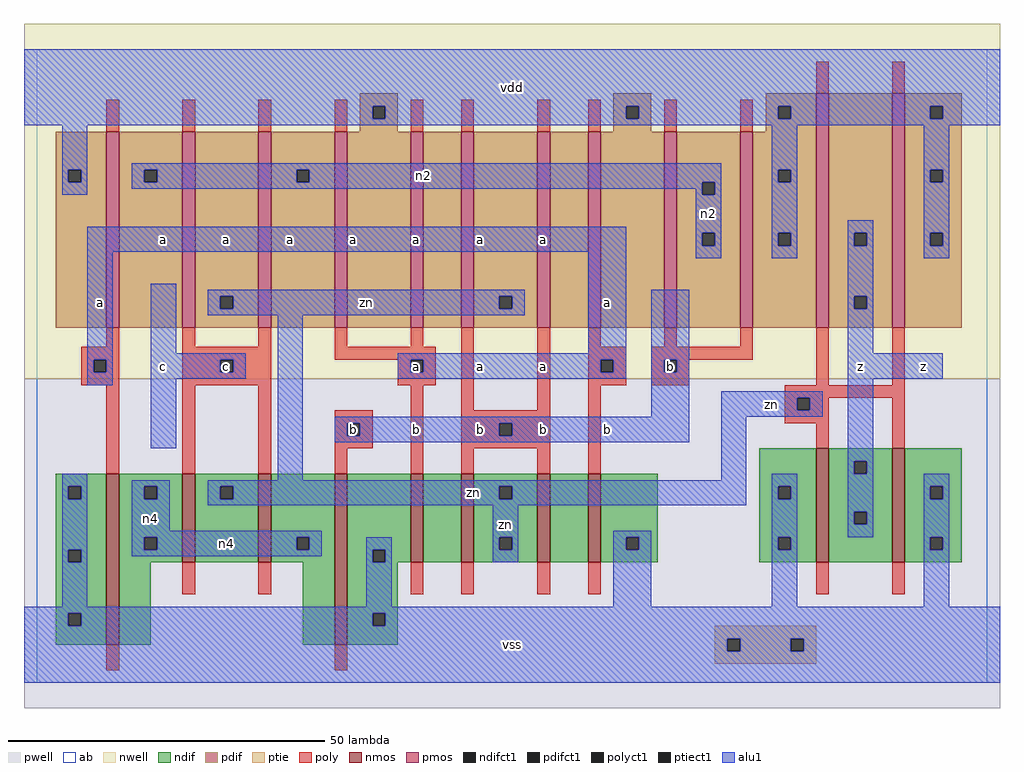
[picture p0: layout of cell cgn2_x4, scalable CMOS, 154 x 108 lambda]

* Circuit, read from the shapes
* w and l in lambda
.subckt cgn2_x4 a b c n2 n4 vdd vss z zn
M1 n4 a vss vss nfet w=27 l=2
M2 zn c n4 vss nfet w=14 l=2 m=2
M3 vss b n4 vss nfet w=27 l=2
M4 n1 a vss vss nfet w=14 l=2
M5 zn b n1 vss nfet w=14 l=2
M6 n3 b zn vss nfet w=14 l=2
M7 vss a n3 vss nfet w=14 l=2
M8 z zn vss vss nfet w=18 l=2 m=2
M9 n2 a vdd n5 pfet w=31 l=2 m=2
M10 zn c n2 n5 pfet w=31 l=2 m=2
M11 n6 a vdd n5 pfet w=31 l=2
M12 zn b n6 n5 pfet w=31 l=2
M13 n7 b zn n5 pfet w=31 l=2
M14 vdd a n7 n5 pfet w=31 l=2
M15 n2 b vdd n5 pfet w=31 l=2 m=2
M16 z zn vdd n5 pfet w=37 l=2 m=2
.ends

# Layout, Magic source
magic
tech scmos
<< ab >>
rect 0 0 150 100
<< nwell >>
rect -2 48 152 104
<< pwell >>
rect -2 -4 152 48
<< poly >>
rect 123 93 125 98
rect 135 93 137 98
rect 11 87 13 92
rect 23 87 25 92
rect 35 87 37 92
rect 47 87 49 92
rect 59 87 61 92
rect 67 87 69 92
rect 79 87 81 92
rect 87 87 89 92
rect 99 87 101 92
rect 111 87 113 92
rect 11 53 13 56
rect 7 51 13 53
rect 7 49 9 51
rect 11 49 13 51
rect 7 47 13 49
rect 11 33 13 47
rect 23 53 25 56
rect 35 53 37 56
rect 23 51 37 53
rect 47 53 49 56
rect 59 53 61 56
rect 47 51 63 53
rect 23 49 29 51
rect 31 49 37 51
rect 23 47 37 49
rect 57 49 59 51
rect 61 49 63 51
rect 57 47 63 49
rect 23 33 25 47
rect 35 33 37 47
rect 47 41 53 43
rect 47 39 49 41
rect 51 39 53 41
rect 47 37 53 39
rect 47 33 49 37
rect 59 33 61 47
rect 67 43 69 56
rect 79 43 81 56
rect 67 41 81 43
rect 67 39 73 41
rect 75 39 81 41
rect 67 37 81 39
rect 67 33 69 37
rect 79 33 81 37
rect 87 53 89 56
rect 99 53 101 56
rect 111 53 113 56
rect 87 51 93 53
rect 87 49 89 51
rect 91 49 93 51
rect 87 47 93 49
rect 97 51 113 53
rect 97 49 99 51
rect 101 49 103 51
rect 97 47 103 49
rect 123 47 125 56
rect 135 47 137 56
rect 87 33 89 47
rect 118 45 137 47
rect 118 43 120 45
rect 122 43 125 45
rect 118 41 125 43
rect 123 37 125 41
rect 135 37 137 45
rect 23 14 25 19
rect 35 14 37 19
rect 59 14 61 19
rect 67 14 69 19
rect 79 14 81 19
rect 87 14 89 19
rect 123 14 125 19
rect 135 14 137 19
rect 11 2 13 6
rect 47 2 49 6
<< ndif >>
rect 3 31 11 33
rect 3 29 5 31
rect 7 29 11 31
rect 3 21 11 29
rect 3 19 5 21
rect 7 19 11 21
rect 3 11 11 19
rect 3 9 5 11
rect 7 9 11 11
rect 3 6 11 9
rect 13 31 23 33
rect 13 29 17 31
rect 19 29 23 31
rect 13 23 23 29
rect 13 21 17 23
rect 19 21 23 23
rect 13 19 23 21
rect 25 31 35 33
rect 25 29 29 31
rect 31 29 35 31
rect 25 19 35 29
rect 37 23 47 33
rect 37 21 41 23
rect 43 21 47 23
rect 37 19 47 21
rect 13 6 18 19
rect 42 6 47 19
rect 49 21 59 33
rect 49 19 53 21
rect 55 19 59 21
rect 61 19 67 33
rect 69 31 79 33
rect 69 29 73 31
rect 75 29 79 31
rect 69 23 79 29
rect 69 21 73 23
rect 75 21 79 23
rect 69 19 79 21
rect 81 19 87 33
rect 89 23 98 33
rect 89 21 93 23
rect 95 21 98 23
rect 89 19 98 21
rect 114 31 123 37
rect 114 29 117 31
rect 119 29 123 31
rect 114 23 123 29
rect 114 21 117 23
rect 119 21 123 23
rect 114 19 123 21
rect 125 35 135 37
rect 125 33 129 35
rect 131 33 135 35
rect 125 27 135 33
rect 125 25 129 27
rect 131 25 135 27
rect 125 19 135 25
rect 137 31 146 37
rect 137 29 141 31
rect 143 29 146 31
rect 137 23 146 29
rect 137 21 141 23
rect 143 21 146 23
rect 137 19 146 21
rect 49 11 57 19
rect 49 9 53 11
rect 55 9 57 11
rect 49 6 57 9
<< pdif >>
rect 51 91 57 93
rect 51 89 53 91
rect 55 89 57 91
rect 51 87 57 89
rect 91 91 97 93
rect 91 89 93 91
rect 95 89 97 91
rect 91 87 97 89
rect 115 91 123 93
rect 115 89 117 91
rect 119 89 123 91
rect 115 87 123 89
rect 3 81 11 87
rect 3 79 5 81
rect 7 79 11 81
rect 3 56 11 79
rect 13 81 23 87
rect 13 79 17 81
rect 19 79 23 81
rect 13 56 23 79
rect 25 61 35 87
rect 25 59 29 61
rect 31 59 35 61
rect 25 56 35 59
rect 37 81 47 87
rect 37 79 41 81
rect 43 79 47 81
rect 37 56 47 79
rect 49 56 59 87
rect 61 56 67 87
rect 69 61 79 87
rect 69 59 73 61
rect 75 59 79 61
rect 69 56 79 59
rect 81 56 87 87
rect 89 56 99 87
rect 101 79 111 87
rect 101 77 105 79
rect 107 77 111 79
rect 101 71 111 77
rect 101 69 105 71
rect 107 69 111 71
rect 101 56 111 69
rect 113 81 123 87
rect 113 79 117 81
rect 119 79 123 81
rect 113 71 123 79
rect 113 69 117 71
rect 119 69 123 71
rect 113 56 123 69
rect 125 71 135 93
rect 125 69 129 71
rect 131 69 135 71
rect 125 61 135 69
rect 125 59 129 61
rect 131 59 135 61
rect 125 56 135 59
rect 137 91 146 93
rect 137 89 141 91
rect 143 89 146 91
rect 137 81 146 89
rect 137 79 141 81
rect 143 79 146 81
rect 137 71 146 79
rect 137 69 141 71
rect 143 69 146 71
rect 137 56 146 69
<< alu1 >>
rect -2 91 152 100
rect -2 89 53 91
rect 55 89 93 91
rect 95 89 117 91
rect 119 89 141 91
rect 143 89 152 91
rect -2 88 152 89
rect 4 81 8 88
rect 4 79 5 81
rect 7 79 8 81
rect 4 77 8 79
rect 15 81 108 82
rect 15 79 17 81
rect 19 79 41 81
rect 43 79 108 81
rect 15 78 105 79
rect 104 77 105 78
rect 107 77 108 79
rect 8 68 93 72
rect 8 51 12 68
rect 8 49 9 51
rect 11 49 12 51
rect 8 47 12 49
rect 18 52 22 63
rect 27 61 77 62
rect 27 59 29 61
rect 31 59 73 61
rect 75 59 77 61
rect 27 58 77 59
rect 18 51 33 52
rect 18 49 29 51
rect 31 49 33 51
rect 18 48 33 49
rect 18 37 22 48
rect 4 31 8 33
rect 38 32 42 58
rect 87 52 93 68
rect 104 71 108 77
rect 104 69 105 71
rect 107 69 108 71
rect 104 67 108 69
rect 116 81 120 88
rect 116 79 117 81
rect 119 79 120 81
rect 116 71 120 79
rect 140 81 144 88
rect 140 79 141 81
rect 143 79 144 81
rect 116 69 117 71
rect 119 69 120 71
rect 116 67 120 69
rect 128 71 132 73
rect 128 69 129 71
rect 131 69 132 71
rect 57 51 93 52
rect 57 49 59 51
rect 61 49 89 51
rect 91 49 93 51
rect 57 48 93 49
rect 97 51 103 62
rect 97 49 99 51
rect 101 49 103 51
rect 97 42 103 49
rect 128 61 132 69
rect 140 71 144 79
rect 140 69 141 71
rect 143 69 144 71
rect 140 67 144 69
rect 128 59 129 61
rect 131 59 132 61
rect 128 52 132 59
rect 128 48 143 52
rect 47 41 103 42
rect 47 39 49 41
rect 51 39 73 41
rect 75 39 103 41
rect 47 38 103 39
rect 108 45 124 46
rect 108 43 120 45
rect 122 43 124 45
rect 108 42 124 43
rect 108 32 112 42
rect 128 35 132 48
rect 128 33 129 35
rect 131 33 132 35
rect 4 29 5 31
rect 7 29 8 31
rect 4 21 8 29
rect 4 19 5 21
rect 7 19 8 21
rect 15 31 21 32
rect 15 29 17 31
rect 19 29 21 31
rect 15 24 21 29
rect 27 31 112 32
rect 27 29 29 31
rect 31 29 73 31
rect 75 29 112 31
rect 27 28 112 29
rect 116 31 120 33
rect 116 29 117 31
rect 119 29 120 31
rect 15 23 45 24
rect 72 23 76 28
rect 15 21 17 23
rect 19 21 41 23
rect 43 21 45 23
rect 15 20 45 21
rect 52 21 56 23
rect 4 12 8 19
rect 52 19 53 21
rect 55 19 56 21
rect 72 21 73 23
rect 75 21 76 23
rect 72 19 76 21
rect 91 23 97 24
rect 91 21 93 23
rect 95 21 97 23
rect 52 12 56 19
rect 91 12 97 21
rect 116 23 120 29
rect 128 27 132 33
rect 128 25 129 27
rect 131 25 132 27
rect 128 23 132 25
rect 140 31 144 33
rect 140 29 141 31
rect 143 29 144 31
rect 140 23 144 29
rect 116 21 117 23
rect 119 21 120 23
rect 116 12 120 21
rect 140 21 141 23
rect 143 21 144 23
rect 140 12 144 21
rect -2 11 152 12
rect -2 9 5 11
rect 7 9 53 11
rect 55 9 152 11
rect -2 7 152 9
rect -2 5 109 7
rect 111 5 119 7
rect 121 5 152 7
rect -2 0 152 5
<< ptie >>
rect 107 7 123 9
rect 107 5 109 7
rect 111 5 119 7
rect 121 5 123 7
rect 107 3 123 5
<< nmos >>
rect 11 6 13 33
rect 23 19 25 33
rect 35 19 37 33
rect 47 6 49 33
rect 59 19 61 33
rect 67 19 69 33
rect 79 19 81 33
rect 87 19 89 33
rect 123 19 125 37
rect 135 19 137 37
<< pmos >>
rect 11 56 13 87
rect 23 56 25 87
rect 35 56 37 87
rect 47 56 49 87
rect 59 56 61 87
rect 67 56 69 87
rect 79 56 81 87
rect 87 56 89 87
rect 99 56 101 87
rect 111 56 113 87
rect 123 56 125 93
rect 135 56 137 93
<< polyct1 >>
rect 9 49 11 51
rect 29 49 31 51
rect 59 49 61 51
rect 49 39 51 41
rect 73 39 75 41
rect 89 49 91 51
rect 99 49 101 51
rect 120 43 122 45
<< ndifct1 >>
rect 5 29 7 31
rect 5 19 7 21
rect 5 9 7 11
rect 17 29 19 31
rect 17 21 19 23
rect 29 29 31 31
rect 41 21 43 23
rect 53 19 55 21
rect 73 29 75 31
rect 73 21 75 23
rect 93 21 95 23
rect 117 29 119 31
rect 117 21 119 23
rect 129 33 131 35
rect 129 25 131 27
rect 141 29 143 31
rect 141 21 143 23
rect 53 9 55 11
<< ptiect1 >>
rect 109 5 111 7
rect 119 5 121 7
<< pdifct1 >>
rect 53 89 55 91
rect 93 89 95 91
rect 117 89 119 91
rect 5 79 7 81
rect 17 79 19 81
rect 29 59 31 61
rect 41 79 43 81
rect 73 59 75 61
rect 105 77 107 79
rect 105 69 107 71
rect 117 79 119 81
rect 117 69 119 71
rect 129 69 131 71
rect 129 59 131 61
rect 141 89 143 91
rect 141 79 143 81
rect 141 69 143 71
<< labels >>
rlabel alu1 18 26 18 26 6 n4
rlabel alu1 20 50 20 50 6 c
rlabel alu1 10 60 10 60 6 a
rlabel alu1 20 70 20 70 6 a
rlabel alu1 30 22 30 22 6 n4
rlabel polyct1 50 40 50 40 6 b
rlabel polyct1 30 50 30 50 6 c
rlabel alu1 30 70 30 70 6 a
rlabel alu1 40 70 40 70 6 a
rlabel alu1 50 70 50 70 6 a
rlabel alu1 75 6 75 6 6 vss
rlabel alu1 74 25 74 25 6 zn
rlabel alu1 70 40 70 40 6 b
rlabel alu1 80 40 80 40 6 b
rlabel alu1 60 40 60 40 6 b
rlabel polyct1 60 50 60 50 6 a
rlabel alu1 70 50 70 50 6 a
rlabel alu1 80 50 80 50 6 a
rlabel alu1 52 60 52 60 6 zn
rlabel alu1 60 70 60 70 6 a
rlabel alu1 70 70 70 70 6 a
rlabel alu1 80 70 80 70 6 a
rlabel alu1 75 94 75 94 6 vdd
rlabel alu1 69 30 69 30 6 zn
rlabel alu1 90 40 90 40 6 b
rlabel polyct1 100 50 100 50 6 b
rlabel alu1 90 60 90 60 6 a
rlabel alu1 106 74 106 74 6 n2
rlabel alu1 61 80 61 80 6 n2
rlabel alu1 116 44 116 44 6 zn
rlabel alu1 130 50 130 50 6 z
rlabel alu1 140 50 140 50 6 z
<< end >>
